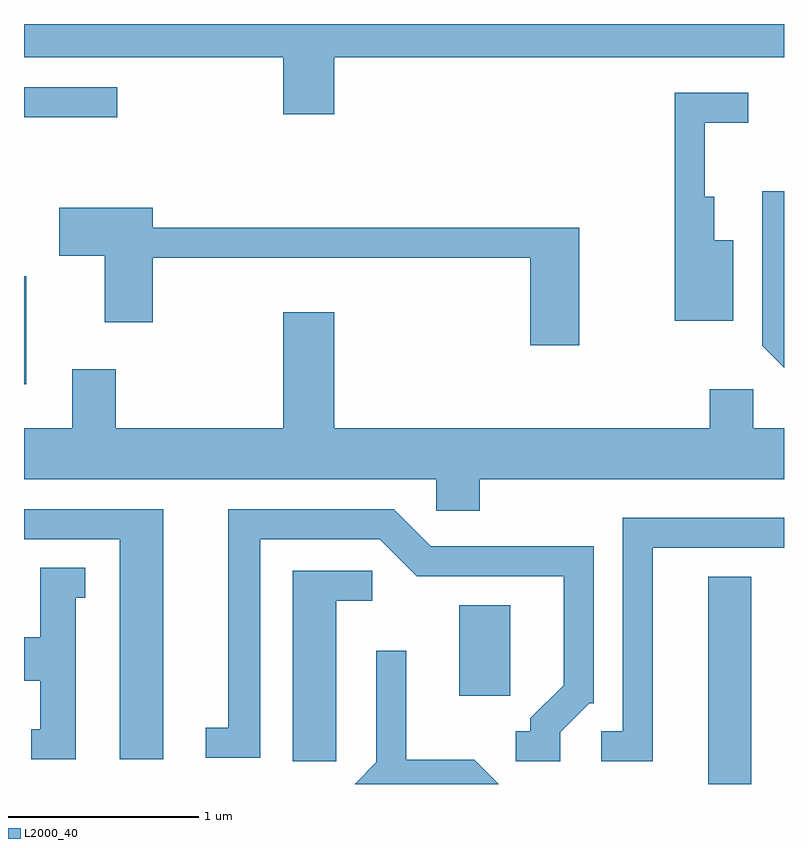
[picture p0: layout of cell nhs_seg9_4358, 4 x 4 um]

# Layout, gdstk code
import gdstk
lib = gdstk.Library(unit=1e-6, precision=1e-09)
def R(c, l, rs):  # rectangles x0, y0, x1, y1
    for r in rs: c.add(gdstk.rectangle(r[:2], r[2:], *l))
def P(c, l, *ps):  # polygons
    for p in ps: c.add(gdstk.Polygon(p, *l))
L2000_40 = (2000, 40)

nhs_seg9_4358 = lib.new_cell('nhs_seg9_4358')
R(nhs_seg9_4358, L2000_40, [(317.211,1992.432,317.439,1993.524), (315.901,1992.896,316.169,1993.374), (313.611,1994.536,313.624,1995.104), (313.611,1995.941,314.103,1996.099)])
P(nhs_seg9_4358, L2000_40, [(315.244,1996.256),(317.611,1996.256),(317.611,1996.432),(313.611,1996.432),(313.611,1996.256),(314.976,1996.256),(314.976,1995.956),(315.244,1995.956)],
  [(317.344,1995.294),(317.244,1995.294),(317.244,1995.524),(317.194,1995.524),(317.194,1995.911),(317.423,1995.911),(317.423,1996.069),(317.036,1996.069),(317.036,1994.871),(317.344,1994.871)],
  [(317.611,1995.553),(317.496,1995.553),(317.496,1994.739),(317.611,1994.624)],
  [(316.534,1995.359),(314.289,1995.359),(314.289,1995.464),(313.796,1995.464),(313.796,1995.211),(314.036,1995.211),(314.036,1994.861),(314.289,1994.861),(314.289,1995.201),(316.276,1995.201),(316.276,1994.741),(316.534,1994.741)],
  [(316.009,1994.036),(317.611,1994.036),(317.611,1994.304),(317.449,1994.304),(317.449,1994.509),(317.221,1994.509),(317.221,1994.304),(315.244,1994.304),(315.244,1994.914),(314.976,1994.914),(314.976,1994.304),(314.094,1994.304),(314.094,1994.614),(313.866,1994.614),(313.866,1994.304),(313.611,1994.304),(313.611,1994.036),(315.781,1994.036),(315.781,1993.871),(316.009,1993.871)],
  [(314.344,1993.879),(313.611,1993.879),(313.611,1993.721),(314.116,1993.721),(314.116,1992.561),(314.344,1992.561)],
  [(316.434,1992.704),(316.587,1992.856),(316.609,1992.856),(316.609,1993.684),(315.752,1993.684),(315.557,1993.879),(314.686,1993.879),(314.686,1992.729),(314.568,1992.729),(314.568,1992.571),(314.854,1992.571),(314.854,1993.721),(315.484,1993.721),(315.679,1993.526),(316.451,1993.526),(316.451,1992.952),(316.276,1992.777),(316.276,1992.709),(316.198,1992.709),(316.198,1992.551),(316.434,1992.551)],
  [(316.919,1993.676),(317.611,1993.676),(317.611,1993.834),(316.761,1993.834),(316.761,1992.709),(316.648,1992.709),(316.648,1992.551),(316.919,1992.551)],
  [(313.884,1993.411),(313.933,1993.411),(313.933,1993.569),(313.696,1993.569),(313.696,1993.204),(313.611,1993.204),(313.611,1992.976),(313.696,1992.976),(313.696,1992.719),(313.648,1992.719),(313.648,1992.561),(313.884,1992.561)],
  [(315.254,1993.396),(315.443,1993.396),(315.443,1993.554),(315.026,1993.554),(315.026,1992.551),(315.254,1992.551)],
  [(315.982,1992.559),(315.624,1992.559),(315.624,1993.133),(315.466,1993.133),(315.466,1992.547),(315.352,1992.432),(316.109,1992.432)])

lib.write_gds('nhs_seg9_4358.gds')
